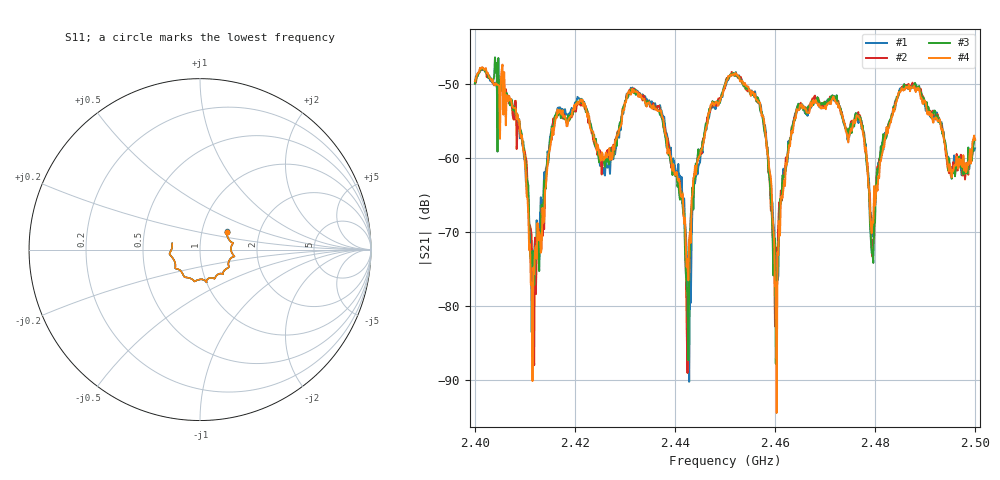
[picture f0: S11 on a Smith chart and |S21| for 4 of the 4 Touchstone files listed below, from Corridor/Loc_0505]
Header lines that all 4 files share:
# Hz S RI R
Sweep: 2.4 GHz to 2.5 GHz
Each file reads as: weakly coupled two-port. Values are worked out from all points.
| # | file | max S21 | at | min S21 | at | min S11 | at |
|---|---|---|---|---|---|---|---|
| 1 | Lab_139_1Ch1.s2p | -47.98 dB | 2.4013 GHz | -90.2 dB | 2.4428 GHz | -15.7 dB | 2.4895 GHz |
| 2 | Lab_139_3Ch1.s2p | -47.86 dB | 2.4015 GHz | -89.1 dB | 2.4425 GHz | -15.7 dB | 2.4895 GHz |
| 3 | Lab_139_4Ch1.s2p | -46.46 dB | 2.404 GHz | -87.8 dB | 2.4602 GHz | -15.7 dB | 2.4895 GHz |
| 4 | Lab_139_6Ch1.s2p | -47.44 dB | 2.4055 GHz | -94.4 dB | 2.4603 GHz | -15.7 dB | 2.4895 GHz |
